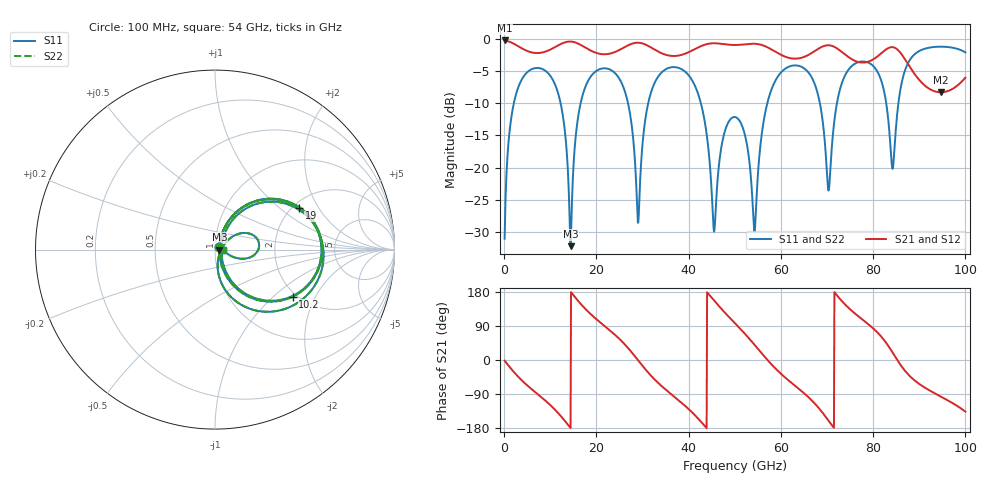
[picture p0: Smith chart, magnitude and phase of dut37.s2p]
! Touchstone file exported from HFSS 2026.1.0
!  File:  C:/ffzhzh/LocalFiles/Ansys_Project_Files/temp_train_TSV_RDL_37_1783441745_28540.aedt
!  Generated:  12:59:05 AM Jul  8, 2026
!  Design:  TSV_RDL
!  Project:  temp_train_TSV_RDL_37_1783441745_28540
! Variables:
!  h_bsmrdl = 2.51um
!  h_ox = 20um
!  h_rdl = 5um
!  h_sub = 65.69um
!  h_tmrdl = 3.19um
!  h_tsv = 65.69um
!  h_via = 3um
!  l_bsmrdl = 619.38um
!  l_sub = 4356.45um
!  l_tmrdl = 488.39um
!  m_sub = 200um
!  pitch = 59.78um
!  r_tsv = 8.84um
!  s_tmrdl = 10um
!  w_bsmrdl = 21.69um
!  w_sub = 500um
!  w_tmrdl = 26.56um
!  x_tsv_center1 = 501.67um
!  x_tsv_center2 = 1142.74um
!  x_tsv_center3 = 1657.69um
!  x_tsv_center4 = 2298.76um
!  x_tsv_center5 = 2813.71um
!  x_tsv_center6 = 3454.78um
# GHz S MA R 50.000000
! Terminal data exported
! Port[1] = TM_RDL1_1_T1
! Port[2] = TM_RDL5_1_T1
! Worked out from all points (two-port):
!   1000 points, 100 MHz to 100 GHz, reference 50 ohm
!   highest |S21| = -0.19 dB at 100 MHz (marker M1); lowest = -8.3 dB at 94.7 GHz (marker M2)
!   |S21| within 3 dB of the highest: start of sweep to 75.55 GHz; 79.9 GHz to 86.96 GHz (7.064 GHz wide, 8.47 % of centre)
!   lowest |S11| = -32.3 dB at 14.4 GHz (marker M3), VSWR 1.05, Z = 52.5 + j0.0283 ohm
!   |S11| at or under -10 dB: 12.25 GHz to 16.57 GHz (4.325 GHz wide, 30 % of centre); 26.86 GHz to 31.22 GHz (4.362 GHz wide, 15 % of centre); 42.66 GHz to 57.05 GHz (14.39 GHz wide, 28.9 % of centre) (the widest 3 of 6)
!   |S22| runs from -32.2 to -1.2 dB; largest |S21 - S12| = 5.1e-14
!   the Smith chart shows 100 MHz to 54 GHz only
!   S11 on the Smith chart (normalised r, x): 100 MHz: 1.04, +0.04; 10.2 GHz: 1.91, -1.34; 19 GHz: 2.18, +1.38; 54 GHz: 1.09, -0.00
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0.1  0.02785 38.2  0.9784 -1.6  0.9784 -1.6  0.02785 38.2
! Gamma 0 0 0 0
! Port Impedance 50 0 50 0
2.9  0.4065 44.2  0.8883 -42.3  0.8883 -42.3  0.4065 44.2
10.2  0.5065 -31.1  0.8373 -121.2  0.8373 -121.2  0.5066 -31.1
14.4  0.02436 0.6  0.9591 -179.4  0.9591 -179.4  0.02452 0.4
16.8  0.3429 50.8  0.8948 145.3  0.8948 145.3  0.3429 50.7
19  0.5242 26.1  0.8084 118.4  0.8084 118.4  0.5242 26.1
25.9  0.4184 -43.0  0.8595 44.5  0.8595 44.5  0.4183 -43.1
29  0.03702 -11.0  0.9397 -0.1  0.9397 -0.1  0.03615 -11.2
33.4  0.5119 26.5  0.8011 -60.5  0.8011 -60.5  0.5118 26.5
43.7  0.205 -78.0  0.911 -177.1  0.911 -177.1  0.2049 -78.0
45.6  0.03258 -8.2  0.9304 155.8  0.9304 155.8  0.03275 -8.0
50.1  0.2472 5.6  0.9018 96.3  0.9018 96.3  0.2473 5.5
54  0.04254 -1.6  0.9228 44.3  0.9228 44.3  0.04229 -2.1
58.4  0.444 68.1  0.8151 -17.3  0.8151 -17.3  0.4439 68.1
66.7  0.5024 -13.0  0.7822 -106.7  0.7822 -106.7  0.5023 -13.0
70.3  0.06606 14.0  0.8977 -159.6  0.8977 -159.6  0.06527 14.0
71.8  0.2648 71.9  0.8641 176.1  0.8641 176.1  0.2647 72.1
78.3  0.6682 11.2  0.6602 100.9  0.6602 100.9  0.6683 11.2
83.4  0.2122 -30.6  0.8567 35.1  0.8567 35.1  0.2124 -30.6
87.4  0.6333 47.0  0.654 -35.4  0.654 -35.4  0.6331 47.0
94.7  0.8752 -6.9  0.3859 -96.7  0.3859 -96.7  0.875 -6.9
100  0.7895 -42.6  0.502 -136.3  0.502 -136.3  0.7891 -42.7
